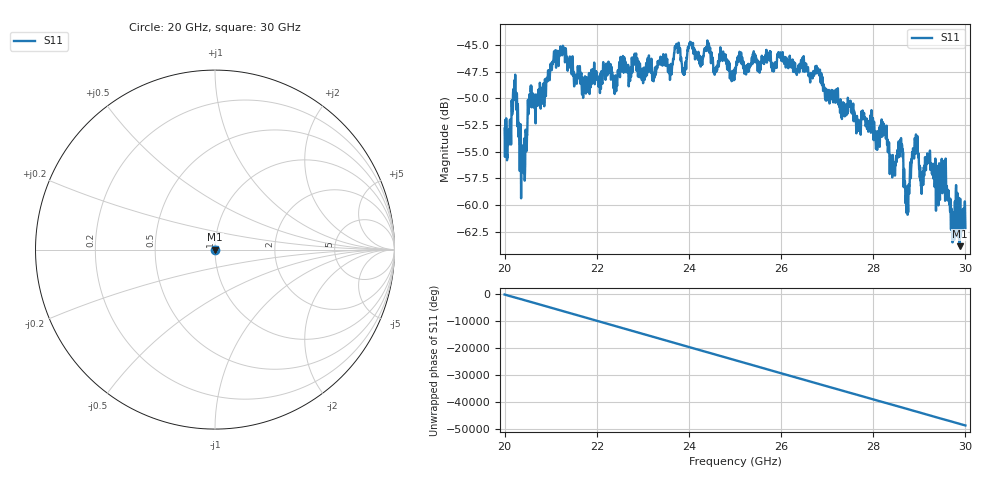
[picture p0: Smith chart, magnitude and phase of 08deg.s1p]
#  HZ  S  RI  R  50.00
! Rohde & Schwarz ZVA40 4Ports - Version 3.90 - 1145.1110k42 SN: 100403
! Date: 2023-10-03 10:21:58
! Measurement: S12
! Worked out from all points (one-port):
!   5001 points, 20 GHz to 30 GHz, reference 50 ohm
!   lowest |S11| = -63.8 dB at 29.87 GHz (marker M1), VSWR 1.00, Z = 50 - j0.049 ohm
!   |S11| at or under -10 dB: start of sweep to end of sweep
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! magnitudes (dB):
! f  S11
! 20 GHz  -52.8
! 20.1 GHz  -52.9
! 20.22 GHz  -48.7
! 20.4 GHz  -55.7
! 20.55 GHz  -50.3
! 21.25 GHz  -45.9
! 21.72 GHz  -48.7
! 22.5 GHz  -47.7
! 23.59 GHz  -48.3
! 23.75 GHz  -45.2
! 23.89 GHz  -47.5
! 24.04 GHz  -44.8
! 25 GHz  -47.2
! 26.25 GHz  -46.4
! 27.5 GHz  -50.5
! 27.68 GHz  -52.2
! 28.22 GHz  -53.4
! 28.44 GHz  -56.0
! 28.6 GHz  -54.1
! 28.75 GHz  -60.3
! 28.93 GHz  -53.4
! 29.04 GHz  -58.2
! 29.2 GHz  -55.6
! 29.4 GHz  -57.3
! 29.53 GHz  -57.8
! 29.73 GHz  -60.7
! 29.87 GHz  -63.8
! 30 GHz  -62.2
